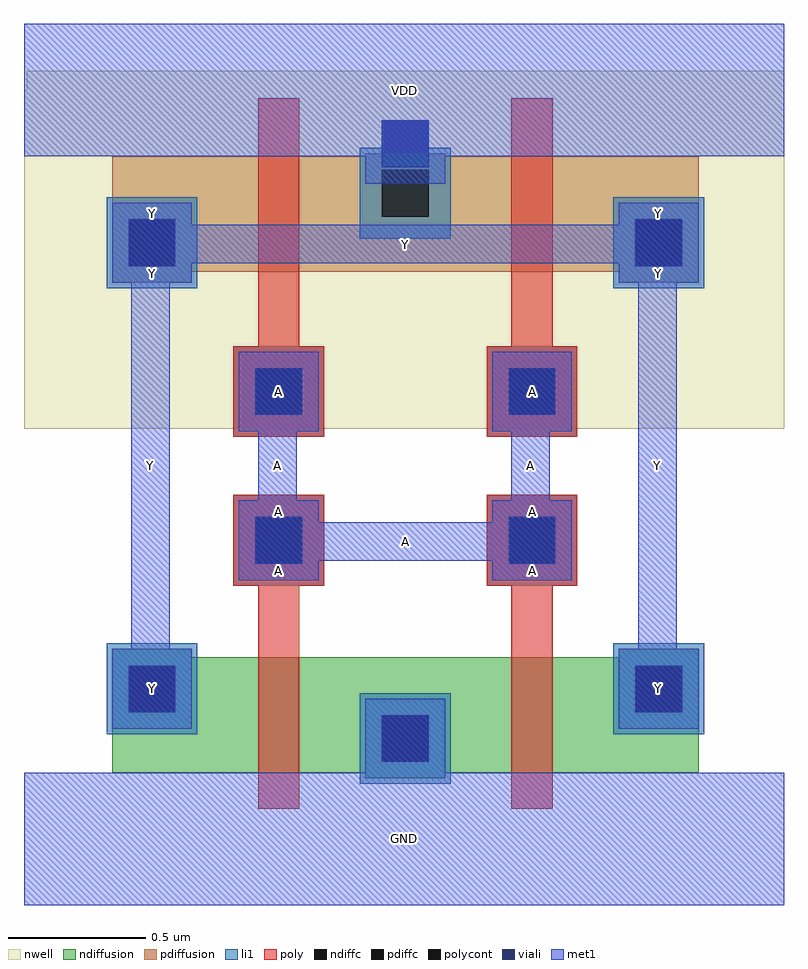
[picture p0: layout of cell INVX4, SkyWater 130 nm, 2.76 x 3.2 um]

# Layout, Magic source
magic
# Generated by librecell
tech sky130A
<< nwell >>
rect 0 149 276 272
rect 1 272 276 279
<< viali >>
rect 130 28 147 45
rect 38 46 55 63
rect 222 46 239 63
rect 84 100 101 117
rect 176 100 193 117
rect 84 154 101 171
rect 176 154 193 171
rect 38 208 55 225
rect 222 208 239 225
rect 130 244 147 261
<< poly >>
rect 85 11 100 92
rect 76 92 109 125
rect 177 11 192 92
rect 168 92 201 125
rect 76 146 109 179
rect 85 179 100 269
rect 168 146 201 179
rect 177 179 192 269
<< properties >>
string FIXED_BBOX 0 0 276 272
<< li1 >>
rect 122 20 155 53
rect 30 38 63 71
rect 214 38 247 71
rect 76 92 109 125
rect 168 92 201 125
rect 76 146 109 179
rect 168 146 201 179
rect 30 200 63 233
rect 214 200 247 233
rect 122 218 155 251
rect 130 251 147 261
<< met1 >>
rect 0 -24 276 24
rect 124 24 153 51
rect 78 94 107 101
rect 170 94 199 101
rect 78 101 199 115
rect 78 115 107 123
rect 170 115 199 123
rect 85 123 99 148
rect 177 123 191 148
rect 78 148 107 177
rect 170 148 199 177
rect 32 40 61 69
rect 216 40 245 69
rect 39 69 53 202
rect 223 69 237 202
rect 32 202 61 209
rect 216 202 245 209
rect 32 209 245 223
rect 32 223 61 231
rect 216 223 245 231
rect 124 238 153 248
rect 0 248 276 296
<< li1 >>
<< met1 >>
<< li1 >>
<< met1 >>
rect 0 -24 276 24
rect 78 94 107 101
rect 170 94 199 101
rect 78 101 199 115
rect 78 115 107 123
rect 170 115 199 123
rect 85 123 99 148
rect 177 123 191 148
rect 78 148 107 177
rect 170 148 199 177
rect 32 40 61 69
rect 216 40 245 69
rect 39 69 53 202
rect 223 69 237 202
rect 32 202 61 209
rect 216 202 245 209
rect 32 209 245 223
rect 32 223 61 231
rect 216 223 245 231
rect 0 248 276 296
<< ndiffusion >>
rect 124 22 153 24
rect 32 24 245 66
rect 32 66 61 69
rect 216 66 245 69
<< pdiffusion >>
rect 32 202 61 206
rect 216 202 245 206
rect 32 206 245 248
rect 124 248 153 249
<< polycont >>
rect 84 100 101 117
rect 176 100 193 117
rect 84 154 101 171
rect 176 154 193 171
<< pdiffc >>
rect 38 208 55 225
rect 222 208 239 225
rect 130 226 147 243
<< ndiffc >>
rect 130 28 147 45
rect 38 46 55 63
rect 222 46 239 63
<< labels >>
rlabel metal2 0 248 276 296 0 VDD
port 1 se
rlabel metal2 0 -24 276 24 0 GND
port 2 se
rlabel metal2 32 40 61 69 0 Y
port 3 se
rlabel metal2 216 40 245 69 0 Y
port 4 se
rlabel metal2 39 69 53 202 0 Y
port 5 se
rlabel metal2 223 69 237 202 0 Y
port 6 se
rlabel metal2 32 202 61 209 0 Y
port 7 se
rlabel metal2 216 202 245 209 0 Y
port 8 se
rlabel metal2 32 209 245 223 0 Y
port 9 se
rlabel metal2 32 223 61 231 0 Y
port 10 se
rlabel metal2 216 223 245 231 0 Y
port 11 se
rlabel metal2 78 94 107 101 0 A
port 12 se
rlabel metal2 170 94 199 101 0 A
port 13 se
rlabel metal2 78 101 199 115 0 A
port 14 se
rlabel metal2 78 115 107 123 0 A
port 15 se
rlabel metal2 170 115 199 123 0 A
port 16 se
rlabel metal2 85 123 99 148 0 A
port 17 se
rlabel metal2 177 123 191 148 0 A
port 18 se
rlabel metal2 78 148 107 177 0 A
port 19 se
rlabel metal2 170 148 199 177 0 A
port 20 se
<< end >>
